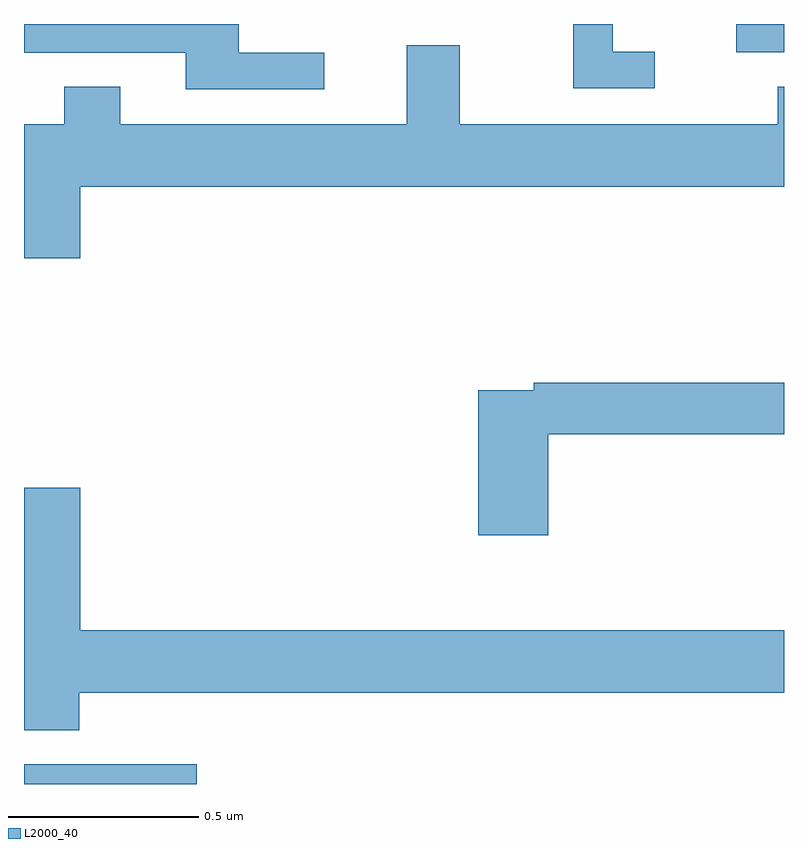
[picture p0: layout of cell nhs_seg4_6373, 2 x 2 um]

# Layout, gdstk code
import gdstk
lib = gdstk.Library(unit=1e-6, precision=1e-09)
def R(c, l, rs):  # rectangles x0, y0, x1, y1
    for r in rs: c.add(gdstk.rectangle(r[:2], r[2:], *l))
def P(c, l, *ps):  # polygons
    for p in ps: c.add(gdstk.Polygon(p, *l))
L2000_40 = (2000, 40)

nhs_seg4_6373 = lib.new_cell('nhs_seg4_6373')
R(nhs_seg4_6373, L2000_40, [(189,809.9,189.454,809.952), (190.874,811.826,191,811.9)])
P(nhs_seg4_6373, L2000_40, [(190.66,811.827),(190.549,811.827),(190.549,811.9),(190.445,811.9),(190.445,811.731),(190.66,811.731)],
  [(189.79,811.824),(189.565,811.824),(189.565,811.9),(189,811.9),(189,811.824),(189.425,811.824),(189.425,811.728),(189.79,811.728)],
  [(189.148,811.472),(191,811.472),(191,811.735),(190.984,811.735),(190.984,811.636),(190.147,811.636),(190.147,811.844),(190.007,811.844),(190.007,811.636),(189.253,811.636),(189.253,811.735),(189.106,811.735),(189.106,811.636),(189,811.636),(189,811.284),(189.148,811.284)],
  [(190.379,810.82),(191,810.82),(191,810.956),(190.342,810.956),(190.342,810.936),(190.196,810.936),(190.196,810.555),(190.379,810.555)],
  [(189.146,810.14),(191,810.14),(191,810.304),(189.148,810.304),(189.148,810.679),(189,810.679),(189,810.041),(189.146,810.041)])

lib.write_gds('nhs_seg4_6373.gds')
